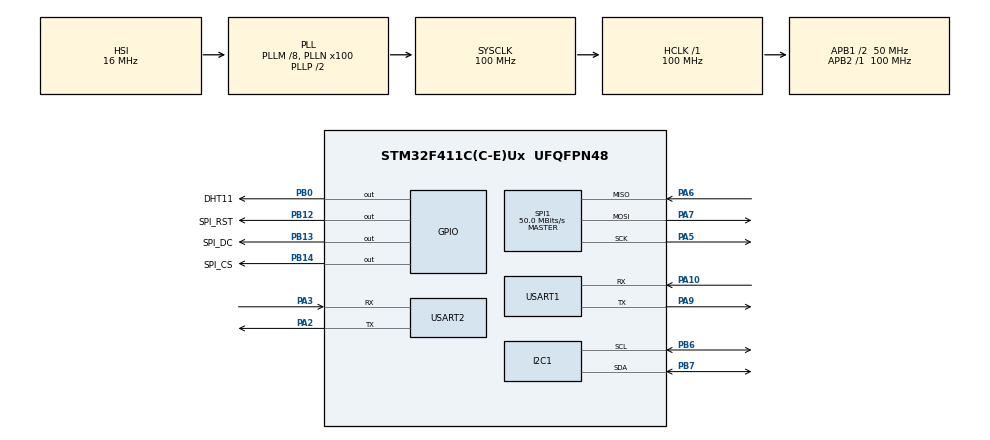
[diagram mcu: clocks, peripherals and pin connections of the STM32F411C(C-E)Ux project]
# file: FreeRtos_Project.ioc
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Mcu.Family=STM32F4
Mcu.Name=STM32F411C(C-E)Ux
Mcu.Package=UFQFPN48
NVIC.PriorityGroup=NVIC_PRIORITYGROUP_4
NVIC.TIM1_UP_TIM10_IRQn=true\:15\:0\:false\:false\:true\:false\:true\:true
NVIC.TimeBase=TIM1_UP_TIM10_IRQn
NVIC.TimeBaseIP=TIM10
NVIC.USART2_IRQn=true\:0\:0\:false\:false\:true\:true\:true\:true
PA10.Mode=Asynchronous
PA10.Signal=USART1_RX
PA2.Mode=Asynchronous
PA2.Signal=USART2_TX
PA3.Mode=Asynchronous
PA3.Signal=USART2_RX
PA5.Mode=Full_Duplex_Master
PA5.Signal=SPI1_SCK
PA6.Mode=Full_Duplex_Master
PA6.Signal=SPI1_MISO
PA7.Mode=Full_Duplex_Master
PA7.Signal=SPI1_MOSI
PA9.Mode=Asynchronous
PA9.Signal=USART1_TX
PB0.GPIO_Label=DHT11
PB0.GPIO_ModeDefaultOutputPP=GPIO_MODE_OUTPUT_OD
PB0.GPIO_PuPd=GPIO_PULLUP
PB0.Signal=GPIO_Output
PB12.GPIO_Label=SPI_RST
PB12.GPIO_Speed=GPIO_SPEED_FREQ_HIGH
PB12.Signal=GPIO_Output
PB13.GPIO_Label=SPI_DC
PB13.GPIO_Speed=GPIO_SPEED_FREQ_HIGH
PB13.Signal=GPIO_Output
PB14.GPIO_Label=SPI_CS
PB14.GPIO_Speed=GPIO_SPEED_FREQ_HIGH
PB14.Signal=GPIO_Output
PB6.Mode=I2C
PB6.Signal=I2C1_SCL
PB7.Mode=I2C
PB7.Signal=I2C1_SDA
PC14-OSC32_IN.Mode=LSE-External-Oscillator
PC14-OSC32_IN.Signal=RCC_OSC32_IN
PC15-OSC32_OUT.Mode=LSE-External-Oscillator
PC15-OSC32_OUT.Signal=RCC_OSC32_OUT
PH0\ -\ OSC_IN.Mode=HSE-External-Oscillator
PH0\ -\ OSC_IN.Signal=RCC_OSC_IN
PH1\ -\ OSC_OUT.Mode=HSE-External-Oscillator
PH1\ -\ OSC_OUT.Signal=RCC_OSC_OUT
ProjectManager.HeapSize=0x200
ProjectManager.StackSize=0x400
ProjectManager.TargetToolchain=MDK-ARM V5.32
RCC.48MHZClocksFreq_Value=50000000
RCC.AHBFreq_Value=100000000
RCC.APB1CLKDivider=RCC_HCLK_DIV2
RCC.APB1Freq_Value=50000000
RCC.APB1TimFreq_Value=100000000
RCC.APB2Freq_Value=100000000
RCC.APB2TimFreq_Value=100000000
RCC.CortexFreq_Value=100000000
RCC.HCLKFreq_Value=100000000
RCC.HSE_VALUE=25000000
RCC.HSI_VALUE=16000000
RCC.PLLM=8
RCC.PLLN=100
RCC.SYSCLKFreq_VALUE=100000000
RCC.SYSCLKSource=RCC_SYSCLKSOURCE_PLLCLK
RCC.VCOOutputFreq_Value=200000000
SPI1.BaudRatePrescaler=SPI_BAUDRATEPRESCALER_2
SPI1.CalculateBaudRate=50.0 MBits/s
SPI1.Direction=SPI_DIRECTION_2LINES
SPI1.Mode=SPI_MODE_MASTER
SPI1.VirtualType=VM_MASTER
USART1.VirtualMode=VM_ASYNC
USART2.VirtualMode=VM_ASYNC
VP_SYS_VS_tim10.Mode=TIM10
VP_TIM4_VS_ClockSourceINT.Mode=Internal
board=custom

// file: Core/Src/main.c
/* USER CODE BEGIN Header */
/**
  ******************************************************************************
  * @file           : main.c
  * @brief          : Main program body
  ******************************************************************************
  * @attention
  *
  * Copyright (c) 2026 STMicroelectronics.
  * All rights reserved.
  *
  * This software is licensed under terms that can be found in the LICENSE file
  * in the root directory of this software component.
  * If no LICENSE file comes with this software, it is provided AS-IS.
  *
  ******************************************************************************
  */
/* USER CODE END Header */
#include "main.h"
#include "i2c.h"
#include "spi.h"
#include "tim.h"
#include "usart.h"
#include "gpio.h"

/* USER CODE BEGIN Includes */
#include "st7735.h"
#include "driver_dht11.h"
#include "image.h"
#include "esp32/espAT.h"
/* USER CODE END Includes */

/* USER CODE BEGIN PV */
int hum, temp;
char weather_text[16] = "--";
char weather_city[16] = "--";
char weather_time[16] = "--:--:--";
int weather_temp = 0;
int weather_code = -1;
uint32_t weather_tick = 0;
/* USER CODE END PV */

void SystemClock_Config(void);

int main(void)
{

  /* MCU Configuration--------------------------------------------------------*/

  /* Reset of all peripherals, Initializes the Flash interface and the Systick. */
  HAL_Init();

  /* Configure the system clock */
  SystemClock_Config();

  /* Initialize all configured peripherals */
  MX_GPIO_Init();
  MX_SPI1_Init();
  MX_I2C1_Init();
  MX_USART1_UART_Init();
  MX_USART2_UART_Init();
  MX_TIM4_Init();
  /* USER CODE BEGIN 2 */
  ST7735_Init();
  DHT11_Init();
  ESPAT_Init(&huart2);

  /* USER CODE END 2 */

  /* Infinite loop */
  /* USER CODE BEGIN WHILE */
  UI_DrawLayout();

  char buf[32];
  char hm[8];
  while (1)
  {
    int wifi_ret = ESPAT_ConnectWiFi(WIFI_SSID, WIFI_PASS, 30000);

    if (wifi_ret == 0)
    {
      if ((HAL_GetTick() - weather_tick) >= 10000U)
      {
        weather_tick = HAL_GetTick();
        if (ESPAT_GetWeatherNowEx(WEATHER_LOCATION_ID,
                                  weather_city, sizeof(weather_city),
                                  weather_time, sizeof(weather_time),
                                  weather_text, sizeof(weather_text),
                                  &weather_temp, &weather_code) != 0)
        {
          snprintf(weather_text, sizeof(weather_text), "API ERR");
          snprintf(weather_city, sizeof(weather_city), "--");
          snprintf(weather_time, sizeof(weather_time), "--:--:--");
          weather_temp = 0;
          weather_code = -1;
          printf("[WEATHER] API ERR\r\n");
        }
        else
        {
          printf("[WEATHER] code=%d text=%s temp=%d\r\n", weather_code, weather_text, weather_temp);
        }
      }
    }
    else if (wifi_ret < 0)
    {
      snprintf(weather_text, sizeof(weather_text), "WIFI ERR");
      snprintf(weather_city, sizeof(weather_city), "--");
      snprintf(weather_time, sizeof(weather_time), "--:--:--");
      weather_temp = 0;
      weather_code = -1;
      printf("[WIFI] ERR\r\n");
    }
    else
    {
      snprintf(weather_text, sizeof(weather_text), "WIFI...");
      snprintf(weather_city, sizeof(weather_city), "--");
      snprintf(weather_time, sizeof(weather_time), "--:--:--");
      weather_temp = 0;
      weather_code = -1;
    }

    UI_DrawLayout();

    if (wifi_ret == 0) {
      snprintf(buf, sizeof(buf), "WiFi %s", WIFI_SSID);
    } else if (wifi_ret < 0) {
      snprintf(buf, sizeof(buf), "WiFi ERR");
    } else {
      snprintf(buf, sizeof(buf), "WiFi ...");
    }
    ST7735_DrawStringSize(6, 8, buf, ST7735_WHITE, UI_COLOR_TOP, &Font_7x10, 10);

    UI_FormatTimeHM(weather_time, hm, sizeof(hm));
    ST7735_DrawStringMapleSize(12, 22, hm, UI_COLOR_DARK, UI_COLOR_TOP, &font20_maple_bold, 34);
    ST7735_DrawStringSize(6, 62, weather_time, ST7735_WHITE, UI_COLOR_TOP, &Font_7x10, 11);
    ST7735_DrawStringMapleSize(72, 60, weather_city, ST7735_WHITE, UI_COLOR_TOP, &font20_maple_bold, 14);

    ST7735_DrawStringMapleSize(6, 88, "室内环境", ST7735_BLACK, UI_COLOR_LEFT, &font20_maple_bold, 14);
    if (DHT11_Read(&hum, &temp) == 0)
    {
      snprintf(buf, sizeof(buf), "%dC", temp);
      ST7735_DrawStringSize(8, 107, buf, ST7735_BLACK, UI_COLOR_LEFT, &Font_7x10, 24);

      snprintf(buf, sizeof(buf), "%d%%", hum);
      ST7735_DrawStringSize(8, 132, buf, ST7735_BLACK, UI_COLOR_LEFT, &Font_7x10, 24);
    }
    else
    {
      ST7735_DrawStringSize(8, 120, "DHT ERR", ST7735_BLACK, UI_COLOR_LEFT, &Font_7x10, 12);
    }

    {
      const image_t *icon = GetWeatherIconByCode(weather_code);
      ST7735_DrawStringMapleSize(70, 88, weather_city, UI_COLOR_DARK, UI_COLOR_RIGHT, &font20_maple_bold, 14);
      snprintf(buf, sizeof(buf), "%dC", weather_temp);
      ST7735_DrawStringSize(72, 106, buf, UI_COLOR_DARK, UI_COLOR_RIGHT, &Font_7x10, 28);
      ST7735_DrawImageLESize(82, 128, icon->width, icon->height, icon->data, 24);
    }
    HAL_Delay(1000);
    /* USER CODE END WHILE */

  }
}

void SystemClock_Config(void)
{
  RCC_OscInitTypeDef RCC_OscInitStruct = {0};
  RCC_ClkInitTypeDef RCC_ClkInitStruct = {0};

  /** Configure the main internal regulator output voltage
  */
  __HAL_RCC_PWR_CLK_ENABLE();
  __HAL_PWR_VOLTAGESCALING_CONFIG(PWR_REGULATOR_VOLTAGE_SCALE1);

  /** Initializes the RCC Oscillators according to the specified parameters
  * in the RCC_OscInitTypeDef structure.
  */
  RCC_OscInitStruct.OscillatorType = RCC_OSCILLATORTYPE_HSI;
  RCC_OscInitStruct.HSIState = RCC_HSI_ON;
  RCC_OscInitStruct.HSICalibrationValue = RCC_HSICALIBRATION_DEFAULT;
  RCC_OscInitStruct.PLL.PLLState = RCC_PLL_ON;
  RCC_OscInitStruct.PLL.PLLSource = RCC_PLLSOURCE_HSI;
  RCC_OscInitStruct.PLL.PLLM = 8;
  RCC_OscInitStruct.PLL.PLLN = 100;
  RCC_OscInitStruct.PLL.PLLP = RCC_PLLP_DIV2;
  RCC_OscInitStruct.PLL.PLLQ = 4;
  if (HAL_RCC_OscConfig(&RCC_OscInitStruct) != HAL_OK)
  {
    Error_Handler();
  }

  /** Initializes the CPU, AHB and APB buses clocks
  */
  RCC_ClkInitStruct.ClockType = RCC_CLOCKTYPE_HCLK|RCC_CLOCKTYPE_SYSCLK
                              |RCC_CLOCKTYPE_PCLK1|RCC_CLOCKTYPE_PCLK2;
  RCC_ClkInitStruct.SYSCLKSource = RCC_SYSCLKSOURCE_PLLCLK;
  RCC_ClkInitStruct.AHBCLKDivider = RCC_SYSCLK_DIV1;
  RCC_ClkInitStruct.APB1CLKDivider = RCC_HCLK_DIV2;
  RCC_ClkInitStruct.APB2CLKDivider = RCC_HCLK_DIV1;

  if (HAL_RCC_ClockConfig(&RCC_ClkInitStruct, FLASH_LATENCY_3) != HAL_OK)
  {
    Error_Handler();
  }
}

/* USER CODE BEGIN 4 */
void HAL_UART_RxCpltCallback(UART_HandleTypeDef *huart)
{
  ESPAT_UART_RxCpltCallback(huart);
}
/* USER CODE END 4 */

void HAL_TIM_PeriodElapsedCallback(TIM_HandleTypeDef *htim)
{
  if (htim->Instance == TIM10)
  {
    HAL_IncTick();
  }
}

void Error_Handler(void)
{
  __disable_irq();
  while (1)
  {
  }
}
